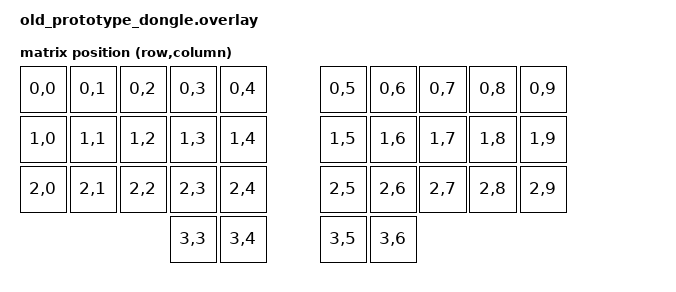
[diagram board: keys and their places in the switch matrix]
/*
 * old_prototype dongle: keyless XIAO on USB, the ESB central. It has no matrix of its
 * own (mock kscan) but needs the keyboard's transform so key positions match.
 */
#include <dt-bindings/zmk/matrix_transform.h>

/ {
    chosen {
        zmk,kscan = &mock_kscan;
        zmk,physical-layout = &physical_layout0;
    };

    /* ESB split transport address config (same on dongle and halves) */
    esb_split {
        compatible = "zmk,esb-split";
        base-addr-0 = <0xE7 0xE7 0xE7 0xE7>;
        base-addr-1 = <0xC2 0xC2 0xC2 0xC2>;
        addr-prefix = <0xE7 0xC2 0xC3 0xC4 0xC5 0xC6 0xC7 0xC8>;
    };

    mock_kscan: mock_kscan_0 {
        compatible = "zmk,kscan-mock";
        columns = <0>;
        rows = <0>;
        events = <0>;
    };

    default_transform: keymap_transform_0 {
        compatible = "zmk,matrix-transform";
        columns = <10>;
        rows = <4>;
        map = <
                RC(0,0) RC(0,1) RC(0,2) RC(0,3) RC(0,4)    RC(0,5) RC(0,6) RC(0,7) RC(0,8) RC(0,9)
                RC(1,0) RC(1,1) RC(1,2) RC(1,3) RC(1,4)    RC(1,5) RC(1,6) RC(1,7) RC(1,8) RC(1,9)
                RC(2,0) RC(2,1) RC(2,2) RC(2,3) RC(2,4)    RC(2,5) RC(2,6) RC(2,7) RC(2,8) RC(2,9)
                                        RC(3,3) RC(3,4)    RC(3,5) RC(3,6)
        >;
    };

    physical_layout0: physical_layout_0 {
        compatible = "zmk,physical-layout";
        display-name = "Default Layout";
        transform = <&default_transform>;
    };
};
